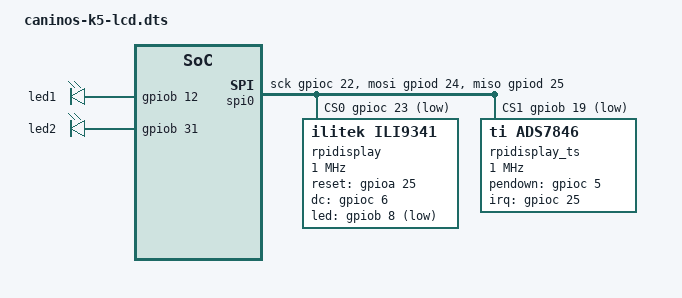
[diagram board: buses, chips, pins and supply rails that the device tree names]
/// SPDX-License-Identifier: (GPL-2.0+ OR MIT)

/dts-v1/;
#include "caninos-k5.dtsi"

/ {
	chosen {
		stdout-path = "serial3:115200n8";
	};

	soc {
		leds {
			compatible = "gpio-leds";
			
			led@1 {
				label = "led1";
				gpios = <&gpiob 12 GPIO_ACTIVE_HIGH>;
				linux,default-trigger = "default-on";
				default-state = "ON";
			};
			
			led@2 {
				label = "led2";
				gpios = <&gpiob 31 GPIO_ACTIVE_HIGH>;
				linux,default-trigger = "heartbeat";
				default-state = "ON";
			};
		};
	};

	spi0: spi-gpio {
		compatible = "spi-gpio";
		miso-gpios = <&gpiod 25 GPIO_ACTIVE_HIGH>;
		mosi-gpios = <&gpiod 24 GPIO_ACTIVE_HIGH>;
		sck-gpios  = <&gpioc 22 GPIO_ACTIVE_HIGH>;
		cs-gpios   = <&gpioc 23 GPIO_ACTIVE_LOW>, <&gpiob 19 GPIO_ACTIVE_LOW>;
		cs-num = <2>;

		#address-cells = <1>;
		#size-cells = <0>;

		max-speed = <1000000>;


		rpidisplay: rpi-display@0{
			compatible = "ilitek,ili9341";
			reg = <0>;

			spi-max-frequency = <1000000>;
			rotate = <270>;
			bgr;
			fps = <30>;
			buswidth = <8>;
			reset-gpios = <&gpioa 25 GPIO_ACTIVE_HIGH>;
			dc-gpios = <&gpioc 6 GPIO_ACTIVE_HIGH>;
			led-gpios = <&gpiob 8 GPIO_ACTIVE_LOW>;
			debug = <0>;
		};

		rpidisplay_ts: rpi-display-ts@1 {
			compatible = "ti,ads7846";
			reg = <1>;

			spi-max-frequency = <1000000>;
			interrupts = <25 2>; /* high-to-low edge triggered */
			interrupt-parent = <&gpioc>;
			pendown-gpio = <&gpioc 5 GPIO_ACTIVE_HIGH>;
			ti,x-plate-ohms = /bits/ 16 <60>;
			ti,pressure-max = /bits/ 16 <255>;
		};
	};
};

&mmc1 {
	enable-gpios = <&gpiob 30 GPIO_ACTIVE_HIGH>, 
					<&gpioc 3 GPIO_ACTIVE_HIGH>;
};

&emac {
	phy-power-gpio = <&gpiob 11 GPIO_ACTIVE_HIGH>;
	phy-reset-gpio = <&gpiod 31 GPIO_ACTIVE_HIGH>;
};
